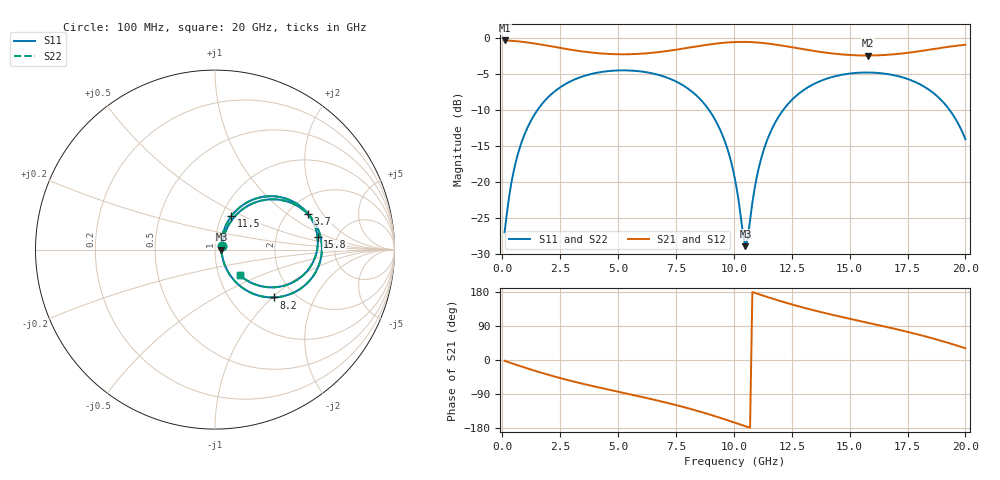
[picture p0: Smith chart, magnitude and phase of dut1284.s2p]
! Touchstone file exported from HFSS 2026.1.0
!  File:  C:/ffzhzh/LocalFiles/Ansys_Project_Files/temp_train_TSV_RDL_1284_1783330782_38820.aedt
!  Generated:  06:04:39 PM Jul  6, 2026
!  Design:  TSV_RDL
!  Project:  temp_train_TSV_RDL_1284_1783330782_38820
! Variables:
!  h_bsmrdl = 4.07um
!  h_ox = 20um
!  h_rdl = 5um
!  h_sub = 99.85um
!  h_tmrdl = 3.32um
!  h_tsv = 99.85um
!  h_via = 3um
!  l_bsmrdl = 948.11um
!  l_sub = 5401.6um
!  l_tmrdl = 516.39um
!  m_sub = 200um
!  pitch = 43.93um
!  r_tsv = 3.63um
!  s_tmrdl = 10um
!  w_bsmrdl = 19.79um
!  w_sub = 500um
!  w_tmrdl = 10.78um
!  x_tsv_center1 = 521.78um
!  x_tsv_center2 = 1489.68um
!  x_tsv_center3 = 2016.85um
!  x_tsv_center4 = 2984.75um
!  x_tsv_center5 = 3511.92um
!  x_tsv_center6 = 4479.82um
# GHz S MA R 50.000000
! Terminal data exported
! Port[1] = TM_RDL1_1_T1
! Port[2] = TM_RDL5_1_T1
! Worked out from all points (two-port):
!   200 points, 100 MHz to 20 GHz, reference 50 ohm
!   highest |S21| = -0.34 dB at 100 MHz (marker M1); lowest = -2.4 dB at 15.8 GHz (marker M2)
!   |S21| within 3 dB of the highest: start of sweep to end of sweep
!   lowest |S11| = -29.0 dB at 10.5 GHz (marker M3), VSWR 1.07, Z = 53.7 + j0.0211 ohm
!   |S11| at or under -10 dB: start of sweep to 1.524 GHz; 8.923 GHz to 12.14 GHz (3.212 GHz wide, 30.5 % of centre); 19.31 GHz to end of sweep
!   |S22| runs from -29.1 to -4.5 dB; largest |S21 - S12| = 1.6e-14
!   S11 on the Smith chart (normalised r, x): 100 MHz: 1.08, +0.05; 3.7 GHz: 2.55, +1.46; 8.2 GHz: 1.57, -1.02; 11.5 GHz: 1.11, +0.43; 15.8 GHz: 3.55, +0.73; 20 GHz: 1.26, -0.37
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0.1  0.04451 30.0  0.962 -2.2  0.962 -2.2  0.04451 30.0
! Gamma 0 0 0 0
! Port Impedance 50 0 50 0
0.5  0.1203 60.1  0.9536 -10.5  0.9536 -10.5  0.1203 60.1
1.2  0.2589 56.6  0.9261 -24.5  0.9261 -24.5  0.2589 56.5
2.2  0.4175 42.1  0.8706 -42.7  0.8706 -42.7  0.4175 42.1
3.5  0.5425 23.6  0.8052 -63.0  0.8052 -63.0  0.5425 23.6
3.7  0.5546 20.9  0.7977 -65.9  0.7977 -65.9  0.5546 20.9
5.3  0.5957 0.4  0.7709 -87.7  0.7709 -87.7  0.5956 0.4
6.8  0.5509 -19.0  0.8001 -108.3  0.8001 -108.3  0.5509 -19.0
8.2  0.4227 -39.1  0.8646 -130.3  0.8646 -130.3  0.4226 -39.1
9.4  0.2317 -56.4  0.9216 -152.4  0.9216 -152.4  0.2316 -56.5
9.8  0.1539 -59.6  0.9335 -160.4  0.9335 -160.4  0.1539 -59.7
10.1  0.09421 -56.6  0.9387 -166.5  0.9387 -166.5  0.09407 -56.8
10.5  0.03562 0.3  0.9397 -174.7  0.9397 -174.7  0.03522 0.3
11  0.1098 64.5  0.9315 175.1  0.9315 175.1  0.1097 64.8
11.5  0.2065 64.0  0.9141 165.2  0.9141 165.2  0.2064 64.1
12.3  0.3416 53.6  0.8744 150.3  0.8744 150.3  0.3415 53.6
13.4  0.4738 37.7  0.816 131.9  0.816 131.9  0.4738 37.8
15.8  0.5755 6.8  0.7559 98.1  0.7559 98.1  0.5755 6.9
16.7  0.5595 -4.4  0.7658 85.8  0.7658 85.8  0.5595 -4.3
18.7  0.4042 -31.1  0.8419 55.1  0.8419 55.1  0.4041 -31.1
19.4  0.3026 -40.5  0.8749 42.6  0.8749 42.6  0.3026 -40.4
20  0.1977 -46.0  0.8975 31.0  0.8975 31.0  0.1977 -45.9
